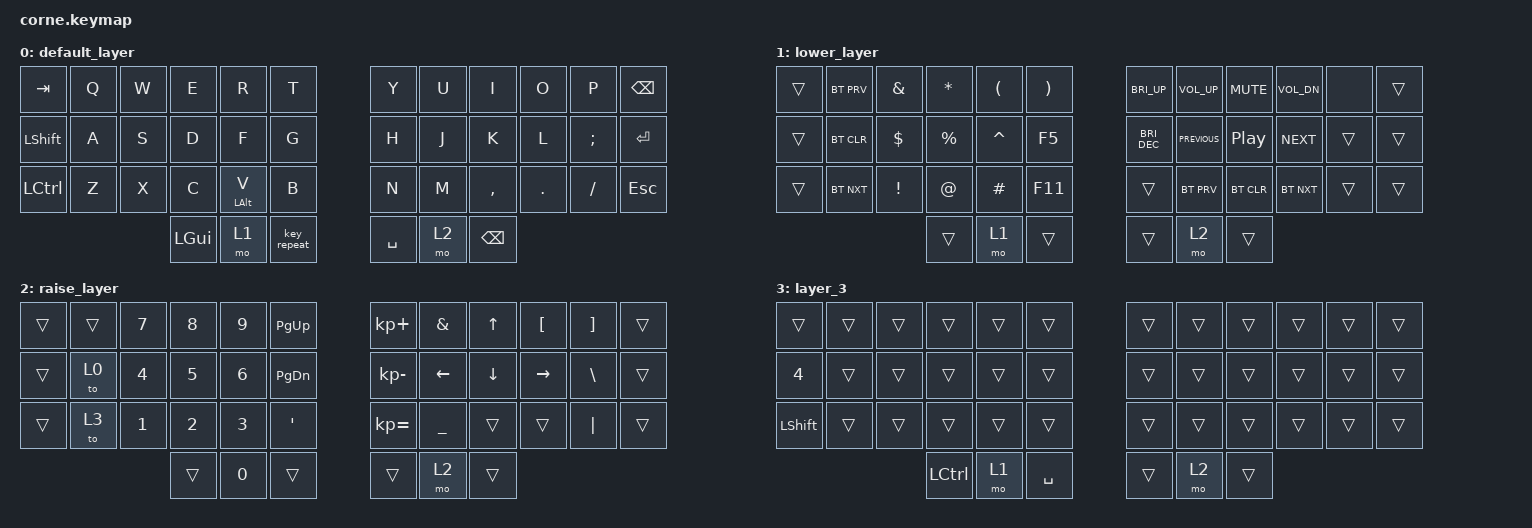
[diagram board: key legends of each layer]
/*
 * Copyright (c) 2020 The ZMK Contributors
 * 
 * SPDX-License-Identifier: MIT
 */

#include <behaviors.dtsi>
#include <dt-bindings/zmk/bt.h>
#include <dt-bindings/zmk/keys.h>

&mt { tapping-term-ms = <400>; };

/ {
    keymap {
        compatible = "zmk,keymap";

        default_layer {
            // -----------------------------------------------------------------------------------------
            // |  TAB |  Q  |  W  |  E  |  R  |  T  |   |  Y  |  U   |  I  |  O  |  P  | BKSP |
            // | CTRL |  A  |  S  |  D  |  F  |  G  |   |  H  |  J   |  K  |  L  |  ;  |  '   |
            // | SHFT |  Z  |  X  |  C  |  V  |  B  |   |  N  |  M   |  ,  |  .  |  /  | ESC  |
            //                    | GUI | LWR | SPC |   | ENT | RSE  | ALT |

            bindings = <
&kp TAB           &kp Q  &kp W  &kp E     &kp R           &kp T          &kp Y      &kp U  &kp I          &kp O    &kp P     &kp BSPC
&kp LEFT_SHIFT    &kp A  &kp S  &kp D     &kp F           &kp G          &kp H      &kp J  &kp K          &kp L    &kp SEMI  &kp ENTER
&kp LEFT_CONTROL  &kp Z  &kp X  &kp C     &mt LEFT_ALT V  &kp B          &kp N      &kp M  &kp COMMA      &kp DOT  &kp FSLH  &kp ESC
                                &kp LGUI  &mo 1           &key_repeat    &kp SPACE  &mo 2  &kp BACKSPACE
            >;
        };

        lower_layer {
            // -----------------------------------------------------------------------------------------
            // |  TAB |  1  |  2  |  3  |  4  |  5  |   |  6  |  7  |  8  |  9  |  0  | BKSP |
            // | BTCLR| BT1 | BT2 | BT3 | BT4 | BT5 |   | LFT | DWN |  UP | RGT |     |      |
            // | SHFT |     |     |     |     |     |   |     |     |     |     |     |      |
            //                    | GUI |     | SPC |   | ENT |     | ALT |

            bindings = <
&trans  &bt BT_PRV  &kp AMPERSAND    &kp ASTERISK  &kp LEFT_PARENTHESIS  &kp RIGHT_PARENTHESIS    &kp C_BRI_UP   &kp C_VOLUME_UP  &kp C_MUTE        &kp C_VOL_DN  &none   &trans
&trans  &bt BT_CLR  &kp DOLLAR       &kp PERCENT   &kp CARET             &kp F5                   &kp C_BRI_DEC  &kp C_PREVIOUS   &kp C_PLAY_PAUSE  &kp C_NEXT    &trans  &trans
&trans  &bt BT_NXT  &kp EXCLAMATION  &kp AT_SIGN   &kp HASH              &kp F11                  &trans         &bt BT_PRV       &bt BT_CLR        &bt BT_NXT    &trans  &trans
                                     &trans        &mo 1                 &trans                   &trans         &mo 2            &trans
            >;
        };

        raise_layer {
            // -----------------------------------------------------------------------------------------
            // |  TAB |  !  |  @  |  #  |  $  |  %  |   |  ^  |  &  |  *  |  (  |  )  | BKSP |
            // | CTRL |     |     |     |     |     |   |  -  |  =  |  [  |  ]  |  \  |  `   |
            // | SHFT |     |     |     |     |     |   |  _  |  +  |  {  |  }  | "|" |  ~   |
            //                    | GUI |     | SPC |   | ENT |     | ALT |

            bindings = <
&trans  &trans  &kp NUMBER_7  &kp NUMBER_8  &kp NUMBER_9  &kp PAGE_UP      &kp KP_PLUS      &kp AMPS   &kp UP_ARROW    &kp LEFT_BRACKET  &kp RIGHT_BRACKET  &trans
&trans  &to 0   &kp NUMBER_4  &kp NUMBER_5  &kp NUMBER_6  &kp PAGE_DOWN    &kp KP_SUBTRACT  &kp LEFT   &kp DOWN_ARROW  &kp RIGHT         &kp BSLH           &trans
&trans  &to 3   &kp NUMBER_1  &kp NUMBER_2  &kp NUMBER_3  &kp SQT          &kp KP_EQUAL     &kp UNDER  &trans          &trans            &kp PIPE           &trans
                              &trans        &kp NUMBER_0  &trans           &trans           &mo 2      &trans
            >;
        };

        layer_3 {
            bindings = <
&trans          &trans  &trans  &trans     &trans  &trans       &trans  &trans  &trans  &trans  &trans  &trans
&kp NUMBER_4    &trans  &trans  &trans     &trans  &trans       &trans  &trans  &trans  &trans  &trans  &trans
&kp LEFT_SHIFT  &trans  &trans  &trans     &trans  &trans       &trans  &trans  &trans  &trans  &trans  &trans
                                &kp LCTRL  &mo 1   &kp SPACE    &trans  &mo 2   &trans
            >;
        };
    };
};
